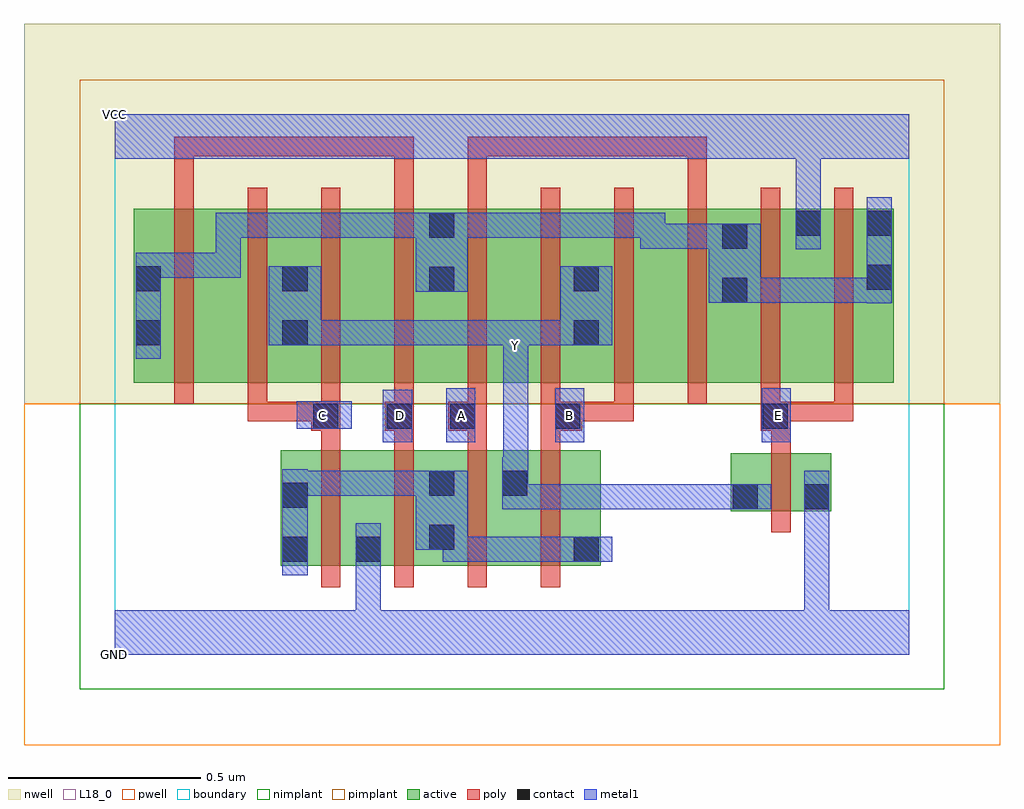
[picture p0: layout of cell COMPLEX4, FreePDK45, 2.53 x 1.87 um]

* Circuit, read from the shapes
.subckt COMPLEX4 A B C D E GND VCC Y
M1 GND C n1 VSUBS nfet w=0.3u l=0.05u
M2 n1 D GND VSUBS nfet w=0.3u l=0.05u
M3 Y A n1 VSUBS nfet w=0.3u l=0.05u
M4 n1 B Y VSUBS nfet w=0.3u l=0.05u
M5 GND E Y VSUBS nfet w=0.15u l=0.05u
M6 n2 D n3 n4 pfet w=0.45u l=0.05u
M7 Y C n2 n4 pfet w=0.45u l=0.05u
M8 n5 C Y n4 pfet w=0.45u l=0.05u
M9 n3 D n5 n4 pfet w=0.45u l=0.05u
M10 n6 A n3 n4 pfet w=0.45u l=0.05u
M11 Y B n6 n4 pfet w=0.45u l=0.05u
M12 n7 B Y n4 pfet w=0.45u l=0.05u
M13 n3 A n7 n4 pfet w=0.45u l=0.05u
M14 VCC E n3 n4 pfet w=0.45u l=0.05u m=2
.ends

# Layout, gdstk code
import gdstk
lib = gdstk.Library(unit=1e-6, precision=1e-09)
def R(c, l, rs):  # rectangles x0, y0, x1, y1
    for r in rs: c.add(gdstk.rectangle(r[:2], r[2:], *l))
def A(c, l, x, y, w, h, nx, ny, dx, dy):  # array of equal rectangles
    R(c, l, [(x+i*dx, y+j*dy, x+i*dx+w, y+j*dy+h) for i in range(nx) for j in range(ny)])
active = (1, 0)
pwell = (2, 0)
nwell = (3, 0)
nimplant = (4, 0)
pimplant = (5, 0)
poly = (9, 0)
contact = (10, 0)
metal1 = (11, 0)
L18_0 = (18, 0)
boundary = (235, 0)

complex4 = lib.new_cell('COMPLEX4')
A(complex4, active, 0.43, 0.23, 0.265, 0.3, 3, 1, 0.19, 0)
A(complex4, active, 0.05, 0.705, 0.225, 0.45, 3, 1, 0.38, 0)
R(complex4, active, [(0.43,0.23,0.505,0.53), (0.62,0.23,0.695,0.392), (1,0.23,1.26,0.53), (1.185,0.23,1.26,0.53), (0.81,0.26,0.885,0.482), (1,0.295,1.075,0.482), (1.597,0.372,1.672,0.522), (1.597,0.372,1.857,0.522), (1.782,0.372,1.857,0.522), (0.05,0.705,0.125,1.155), (0.275,0.705,0.505,1.155), (0.655,0.705,0.885,1.155), (1.035,0.705,1.26,1.155), (1.185,0.705,1.415,1.155), (1.415,0.705,1.645,1.155), (1.57,0.705,1.835,1.155), (1.76,0.705,2.02,1.155), (1.945,0.705,2.02,1.155), (0.43,0.732,0.505,1.07), (1.185,0.732,1.26,1.07), (0.81,0.75,0.885,1.155), (1.57,0.812,1.645,1.155), (1.76,0.812,1.835,1.155)])
R(complex4, pwell, [(-0.235,-0.235,2.295,0.65)])
R(complex4, nwell, [(-0.235,0.65,2.295,1.635)])
R(complex4, nimplant, [(-0.09,-0.09,2.15,0.65)])
R(complex4, pimplant, [(-0.09,0.65,2.15,1.49)])
A(complex4, poly, 0.535, 0.175, 0.05, 0.41, 4, 1, 0.19, 0)
A(complex4, poly, 0.535, 0.535, 0.05, 0.095, 4, 1, 0.19, 0)
A(complex4, poly, 0.345, 0.605, 0.05, 0.095, 6, 1, 0.19, 0)
A(complex4, poly, 0.155, 0.65, 0.05, 0.56, 10, 1, 0.19, 0)
R(complex4, poly, [(1.702,0.317,1.752,0.577), (1.702,0.527,1.752,0.63), (0.51,0.58,0.585,0.655), (0.7,0.58,0.775,0.655), (0.865,0.58,0.965,0.655), (1.105,0.58,1.212,0.655), (1.675,0.58,1.752,0.655), (0.345,0.605,0.395,0.655), (0.345,0.605,0.56,0.655), (0.51,0.605,0.56,0.655), (0.51,0.605,0.56,0.655), (1.162,0.605,1.212,0.655), (1.162,0.605,1.212,0.655), (1.162,0.605,1.345,0.655), (1.295,0.605,1.345,0.655), (1.675,0.605,1.725,0.7), (1.702,0.605,1.915,0.655), (1.702,0.605,1.752,0.655), (1.702,0.605,1.752,0.655), (1.865,0.605,1.915,0.7), (1.865,0.605,1.915,0.655), (0.155,1.16,0.205,1.342), (0.725,1.16,0.775,1.342), (0.915,1.16,0.965,1.342), (1.485,1.16,1.535,1.342), (0.155,1.292,0.205,1.342), (0.155,1.292,0.205,1.342), (0.155,1.292,0.205,1.342), (0.155,1.292,0.395,1.342), (0.345,1.292,0.395,1.342), (0.345,1.292,0.527,1.342), (0.477,1.292,0.527,1.342), (0.477,1.292,0.527,1.342), (0.477,1.292,0.527,1.342), (0.477,1.292,0.775,1.342), (0.725,1.292,0.775,1.342), (0.725,1.292,0.775,1.342), (0.725,1.292,0.775,1.342), (0.915,1.292,0.965,1.342), (0.915,1.292,0.965,1.342), (0.915,1.292,0.965,1.342), (0.915,1.292,1.212,1.342), (1.162,1.292,1.212,1.342), (1.162,1.292,1.212,1.342), (1.162,1.292,1.212,1.342), (1.162,1.292,1.402,1.342), (1.352,1.292,1.402,1.342), (1.352,1.292,1.402,1.342), (1.352,1.292,1.402,1.342), (1.352,1.292,1.535,1.342), (1.485,1.292,1.535,1.342)])
R(complex4, contact, [(0.435,0.24,0.5,0.305), (0.625,0.24,0.69,0.305), (1.19,0.24,1.255,0.305), (0.815,0.272,0.88,0.337), (1.602,0.377,1.667,0.442), (1.787,0.377,1.852,0.442), (0.435,0.38,0.5,0.445), (0.815,0.412,0.88,0.477), (1.005,0.412,1.07,0.477), (0.515,0.585,0.58,0.65), (0.705,0.585,0.77,0.65), (0.87,0.585,0.935,0.65), (1.142,0.585,1.207,0.65), (1.68,0.585,1.745,0.65), (0.055,0.802,0.12,0.867), (0.435,0.802,0.5,0.867), (1.19,0.802,1.255,0.867), (1.575,0.912,1.64,0.977), (0.815,0.94,0.88,1.005), (0.055,0.942,0.12,1.007), (0.435,0.942,0.5,1.007), (1.19,0.942,1.255,1.007), (1.95,0.945,2.015,1.01), (1.575,1.052,1.64,1.117), (0.815,1.08,0.88,1.145), (1.765,1.085,1.83,1.15), (1.95,1.085,2.015,1.15)])
R(complex4, metal1, [(0,0,2.06,0.115), (0.625,0.05,0.69,0.115), (0.625,0.05,0.69,0.115), (0.625,0.05,0.69,0.27), (1.787,0.05,1.852,0.115), (1.787,0.05,1.852,0.115), (1.787,0.05,1.852,0.115), (1.787,0.05,1.852,0.115), (1.787,0.05,1.852,0.115), (1.787,0.05,1.852,0.115), (1.787,0.05,1.852,0.407), (0.435,0.205,0.5,0.48), (0.625,0.205,0.69,0.27), (0.625,0.205,0.69,0.27), (0.625,0.205,0.69,0.34), (0.85,0.24,0.915,0.305), (0.85,0.24,0.915,0.305), (0.85,0.24,0.915,0.305), (0.85,0.24,1.072,0.305), (0.85,0.24,0.915,0.337), (1.007,0.24,1.072,0.305), (1.007,0.24,1.072,0.305), (1.007,0.24,1.072,0.305), (1.007,0.24,1.22,0.305), (1.155,0.24,1.29,0.305), (0.78,0.272,0.915,0.477), (1.787,0.342,1.852,0.477), (1.005,0.377,1.072,0.512), (1.007,0.377,1.072,0.442), (1.007,0.377,1.072,0.442), (1.007,0.377,1.29,0.442), (1.225,0.377,1.29,0.442), (1.225,0.377,1.357,0.442), (1.292,0.377,1.357,0.442), (1.292,0.377,1.427,0.442), (1.362,0.377,1.427,0.442), (1.362,0.377,1.565,0.442), (1.5,0.377,1.565,0.442), (1.5,0.377,1.632,0.442), (1.567,0.377,1.702,0.442), (0.435,0.412,0.5,0.477), (0.435,0.412,0.5,0.477), (0.435,0.412,0.707,0.477), (0.642,0.412,0.707,0.477), (0.642,0.412,0.707,0.477), (0.642,0.412,0.707,0.477), (0.642,0.412,0.845,0.477), (1.007,0.447,1.072,0.797), (0.695,0.55,0.772,0.687), (0.86,0.55,0.935,0.69), (1.142,0.55,1.217,0.69), (1.677,0.55,1.752,0.69), (0.472,0.585,0.615,0.657), (1.007,0.732,1.072,0.867), (0.055,0.767,0.12,1.042), (0.4,0.802,0.535,1.007), (0.47,0.802,0.535,0.867), (0.47,0.802,0.535,0.867), (0.47,0.802,0.707,0.867), (0.642,0.802,0.707,0.867), (0.642,0.802,0.707,0.867), (0.642,0.802,0.707,0.867), (0.642,0.802,0.845,0.867), (0.78,0.802,0.845,0.867), (0.78,0.802,0.845,0.867), (0.78,0.802,0.845,0.867), (0.78,0.802,1.072,0.867), (1.007,0.802,1.072,0.867), (1.007,0.802,1.072,0.867), (1.007,0.802,1.22,0.867), (1.155,0.802,1.22,0.867), (1.155,0.802,1.22,0.867), (1.155,0.802,1.29,1.007), (1.95,0.91,2.015,1.185), (1.54,0.912,1.675,1.117), (1.61,0.912,1.84,0.977), (1.775,0.912,1.84,0.977), (1.775,0.912,1.84,0.977), (1.775,0.912,1.84,0.977), (1.775,0.912,2.015,0.977), (1.95,0.912,2.015,0.977), (1.95,0.912,2.015,0.977), (0.78,0.94,0.915,1.145), (0.055,0.977,0.12,1.042), (0.055,0.977,0.12,1.042), (0.055,0.977,0.327,1.042), (0.262,0.977,0.327,1.042), (0.262,0.977,0.327,1.145), (1.765,1.05,1.83,1.185), (1.362,1.052,1.427,1.117), (1.362,1.052,1.605,1.117), (1.362,1.052,1.427,1.145), (1.54,1.052,1.605,1.117), (1.54,1.052,1.605,1.117), (0.262,1.08,0.327,1.145), (0.262,1.08,0.327,1.145), (0.262,1.08,0.327,1.145), (0.262,1.08,0.535,1.145), (0.47,1.08,0.535,1.145), (0.47,1.08,0.535,1.145), (0.47,1.08,0.535,1.145), (0.47,1.08,0.672,1.145), (0.607,1.08,0.672,1.145), (0.607,1.08,0.672,1.145), (0.607,1.08,0.672,1.145), (0.607,1.08,0.845,1.145), (0.85,1.08,0.915,1.145), (0.85,1.08,0.915,1.145), (0.85,1.08,1.072,1.145), (1.007,1.08,1.072,1.145), (1.007,1.08,1.21,1.145), (1.145,1.08,1.21,1.145), (1.145,1.08,1.21,1.145), (1.145,1.08,1.21,1.145), (1.145,1.08,1.427,1.145), (1.362,1.08,1.427,1.145), (1.362,1.08,1.427,1.145), (1.362,1.08,1.427,1.145), (1.765,1.12,1.83,1.35), (0,1.285,2.06,1.4), (1.765,1.285,1.83,1.35), (1.765,1.285,1.83,1.35)])
R(complex4, L18_0, [(0,0,2.06,0.115), (0.625,0.05,0.69,0.115), (0.625,0.05,0.69,0.115), (0.625,0.05,0.69,0.27), (1.787,0.05,1.852,0.115), (1.787,0.05,1.852,0.115), (1.787,0.05,1.852,0.115), (1.787,0.05,1.852,0.115), (1.787,0.05,1.852,0.115), (1.787,0.05,1.852,0.115), (1.787,0.05,1.852,0.407), (0.625,0.205,0.69,0.27), (0.625,0.205,0.69,0.27), (0.625,0.205,0.69,0.34), (1.787,0.342,1.852,0.477), (1.005,0.377,1.072,0.512), (1.007,0.377,1.072,0.442), (1.007,0.377,1.072,0.442), (1.007,0.377,1.29,0.442), (1.225,0.377,1.29,0.442), (1.225,0.377,1.357,0.442), (1.292,0.377,1.357,0.442), (1.292,0.377,1.427,0.442), (1.362,0.377,1.427,0.442), (1.362,0.377,1.565,0.442), (1.5,0.377,1.565,0.442), (1.5,0.377,1.632,0.442), (1.567,0.377,1.702,0.442), (1.007,0.447,1.072,0.797), (0.695,0.55,0.772,0.687), (0.86,0.55,0.935,0.69), (1.142,0.55,1.217,0.69), (1.677,0.55,1.752,0.69), (0.472,0.585,0.615,0.657), (0.507,0.587,0.572,0.652), (0.707,0.587,0.772,0.652), (0.867,0.587,0.932,0.652), (1.147,0.587,1.212,0.652), (1.687,0.587,1.752,0.652), (1.007,0.732,1.072,0.867), (1.007,0.767,1.072,0.832), (0.4,0.802,0.535,1.007), (0.47,0.802,0.535,0.867), (0.47,0.802,0.535,0.867), (0.47,0.802,0.707,0.867), (0.642,0.802,0.707,0.867), (0.642,0.802,0.707,0.867), (0.642,0.802,0.707,0.867), (0.642,0.802,0.845,0.867), (0.78,0.802,0.845,0.867), (0.78,0.802,0.845,0.867), (0.78,0.802,0.845,0.867), (0.78,0.802,1.072,0.867), (1.007,0.802,1.072,0.867), (1.007,0.802,1.072,0.867), (1.007,0.802,1.22,0.867), (1.155,0.802,1.29,1.007), (1.155,0.802,1.22,0.867), (1.155,0.802,1.22,0.867), (1.765,1.05,1.83,1.185), (1.765,1.12,1.83,1.35), (0,1.285,2.06,1.4), (1.765,1.285,1.83,1.35), (1.765,1.285,1.83,1.35)])
R(complex4, boundary, [(0,0,2.06,1.4)])
complex4.add(gdstk.Label('A', (0.9,0.62), layer=11, texttype=0))
complex4.add(gdstk.Label('B', (1.18,0.62), layer=11, texttype=0))
complex4.add(gdstk.Label('C', (0.54,0.62), layer=11, texttype=0))
complex4.add(gdstk.Label('D', (0.74,0.62), layer=11, texttype=0))
complex4.add(gdstk.Label('E', (1.72,0.62), layer=11, texttype=0))
complex4.add(gdstk.Label('Y', (1.04,0.8), layer=11, texttype=0))
complex4.add(gdstk.Label('VCC', (0,1.4), layer=11, texttype=0))
complex4.add(gdstk.Label('GND', (0,0), layer=11, texttype=0))

lib.write_gds('COMPLEX4.gds')
